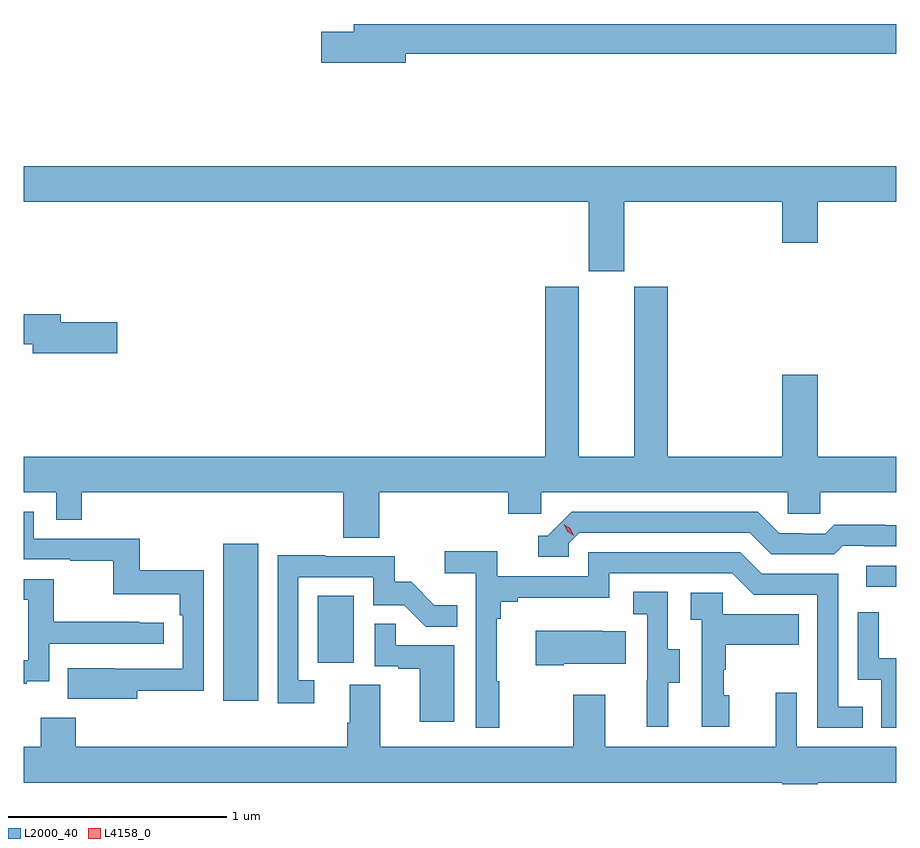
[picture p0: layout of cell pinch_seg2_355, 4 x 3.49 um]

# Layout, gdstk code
import gdstk
lib = gdstk.Library(unit=1e-6, precision=1e-09)
def R(c, l, rs):  # rectangles x0, y0, x1, y1
    for r in rs: c.add(gdstk.rectangle(r[:2], r[2:], *l))
def P(c, l, *ps):  # polygons
    for p in ps: c.add(gdstk.Polygon(p, *l))
L2000_40 = (2000, 40)
L4158_0 = (4158, 0)

pinch_seg2_355 = lib.new_cell('pinch_seg2_355')
R(pinch_seg2_355, L2000_40, [(1001.603,633.36,1001.764,634.081), (1002.038,633.534,1002.202,633.841), (1004.553,633.882,1004.69,633.978)])
P(pinch_seg2_355, L2000_40, [(1002.442,636.328),(1004.69,636.328),(1004.69,636.464),(1002.203,636.464),(1002.203,636.428),(1002.054,636.428),(1002.054,636.286),(1002.442,636.286)],
  [(1003.444,635.648),(1004.168,635.648),(1004.168,635.46),(1004.332,635.46),(1004.332,635.648),(1004.69,635.648),(1004.69,635.812),(1000.69,635.812),(1000.69,635.648),(1003.28,635.648),(1003.28,635.331),(1003.444,635.331)],
  [(1002.32,634.316),(1002.911,634.316),(1002.911,634.218),(1003.062,634.218),(1003.062,634.316),(1004.193,634.316),(1004.193,634.218),(1004.343,634.218),(1004.343,634.316),(1004.69,634.316),(1004.69,634.48),(1004.332,634.48),(1004.332,634.855),(1004.168,634.855),(1004.168,634.48),(1003.643,634.48),(1003.643,635.259),(1003.49,635.259),(1003.49,634.48),(1003.234,634.48),(1003.234,635.259),(1003.082,635.259),(1003.082,634.48),(1000.69,634.48),(1000.69,634.316),(1000.839,634.316),(1000.839,634.189),(1000.955,634.189),(1000.955,634.316),(1002.155,634.316),(1002.155,634.108),(1002.32,634.108)],
  [(1001.119,635.096),(1000.858,635.096),(1000.858,635.132),(1000.69,635.132),(1000.69,634.996),(1000.73,634.996),(1000.73,634.954),(1001.119,634.954)],
  [(1001.209,633.406),(1001.514,633.406),(1001.514,633.958),(1001.221,633.958),(1001.221,634.104),(1000.734,634.104),(1000.734,634.227),(1000.69,634.227),(1000.69,634.008),(1000.903,634.008),(1000.903,634.003),(1001.1,634.003),(1001.1,633.848),(1001.405,633.848),(1001.405,633.752),(1001.418,633.752),(1001.418,633.507),(1001.105,633.507),(1001.105,633.508),(1000.891,633.508),(1000.891,633.368),(1001.209,633.368)],
  [(1003.188,634.083),(1003.236,634.131),(1004.019,634.131),(1004.118,634.032),(1004.407,634.032),(1004.446,634.071),(1004.545,634.071),(1004.545,634.068),(1004.69,634.068),(1004.69,634.165),(1004.64,634.165),(1004.64,634.168),(1004.407,634.168),(1004.365,634.125),(1004.262,634.125),(1004.262,634.128),(1004.155,634.128),(1004.056,634.227),(1003.203,634.227),(1003.092,634.116),(1003.049,634.116),(1003.049,634.02),(1003.188,634.02)],
  [(1002.871,633.449),(1002.859,633.449),(1002.859,633.737),(1002.878,633.737),(1002.878,633.814),(1002.955,633.814),(1002.955,633.833),(1003.374,633.833),(1003.374,633.945),(1003.938,633.945),(1004.037,633.846),(1004.328,633.846),(1004.328,633.237),(1004.537,633.237),(1004.537,633.333),(1004.424,633.333),(1004.424,633.942),(1004.074,633.942),(1003.975,634.041),(1003.278,634.041),(1003.278,633.93),(1002.86,633.93),(1002.86,634.046),(1002.621,634.046),(1002.621,633.944),(1002.762,633.944),(1002.762,633.237),(1002.871,633.237)],
  [(1002.022,633.453),(1001.949,633.453),(1001.949,633.927),(1002.291,633.927),(1002.291,633.798),(1002.435,633.798),(1002.533,633.7),(1002.677,633.7),(1002.677,633.799),(1002.573,633.799),(1002.466,633.906),(1002.39,633.906),(1002.39,634.023),(1002.071,634.023),(1002.071,634.028),(1001.853,634.028),(1001.853,633.348),(1002.022,633.348)],
  [(1000.703,633.449),(1000.806,633.449),(1000.806,633.621),(1001.332,633.621),(1001.332,633.717),(1001.219,633.717),(1001.219,633.722),(1000.826,633.722),(1000.826,633.918),(1000.69,633.918),(1000.69,633.822),(1000.71,633.822),(1000.71,633.546),(1000.69,633.546),(1000.69,633.438),(1000.703,633.438)],
  [(1003.645,633.442),(1003.699,633.442),(1003.699,633.597),(1003.644,633.597),(1003.644,633.86),(1003.485,633.86),(1003.485,633.757),(1003.548,633.757),(1003.548,633.453),(1003.547,633.453),(1003.547,633.24),(1003.645,633.24)],
  [(1003.924,633.384),(1003.899,633.384),(1003.899,633.503),(1003.909,633.503),(1003.909,633.617),(1004.243,633.617),(1004.243,633.757),(1003.896,633.757),(1003.896,633.855),(1003.749,633.855),(1003.749,633.731),(1003.8,633.731),(1003.8,633.24),(1003.924,633.24)],
  [(1004.69,633.554),(1004.61,633.554),(1004.61,633.766),(1004.514,633.766),(1004.514,633.456),(1004.622,633.456),(1004.622,633.237),(1004.69,633.237)],
  [(1002.664,633.615),(1002.395,633.615),(1002.395,633.713),(1002.3,633.713),(1002.3,633.519),(1002.407,633.519),(1002.407,633.507),(1002.506,633.507),(1002.506,633.264),(1002.664,633.264)],
  [(1003.165,633.53),(1003.451,633.53),(1003.451,633.679),(1003.343,633.679),(1003.343,633.682),(1003.037,633.682),(1003.037,633.523),(1003.165,633.523)],
  [(1004.332,632.984),(1004.69,632.984),(1004.69,633.148),(1004.235,633.148),(1004.235,633.397),(1004.138,633.397),(1004.138,633.148),(1003.357,633.148),(1003.357,633.388),(1003.21,633.388),(1003.21,633.148),(1002.325,633.148),(1002.325,633.434),(1002.185,633.434),(1002.185,633.26),(1002.173,633.26),(1002.173,633.148),(1000.928,633.148),(1000.928,633.283),(1000.768,633.283),(1000.768,633.148),(1000.69,633.148),(1000.69,632.984),(1004.168,632.984),(1004.168,632.978),(1004.332,632.978)])
P(pinch_seg2_355, L4158_0, [(1003.212,634.117),(1003.181,634.137),(1003.165,634.169),(1003.165,634.17),(1003.165,634.17),(1003.196,634.15),(1003.212,634.117),(1003.212,634.117)])

lib.write_gds('pinch_seg2_355.gds')
